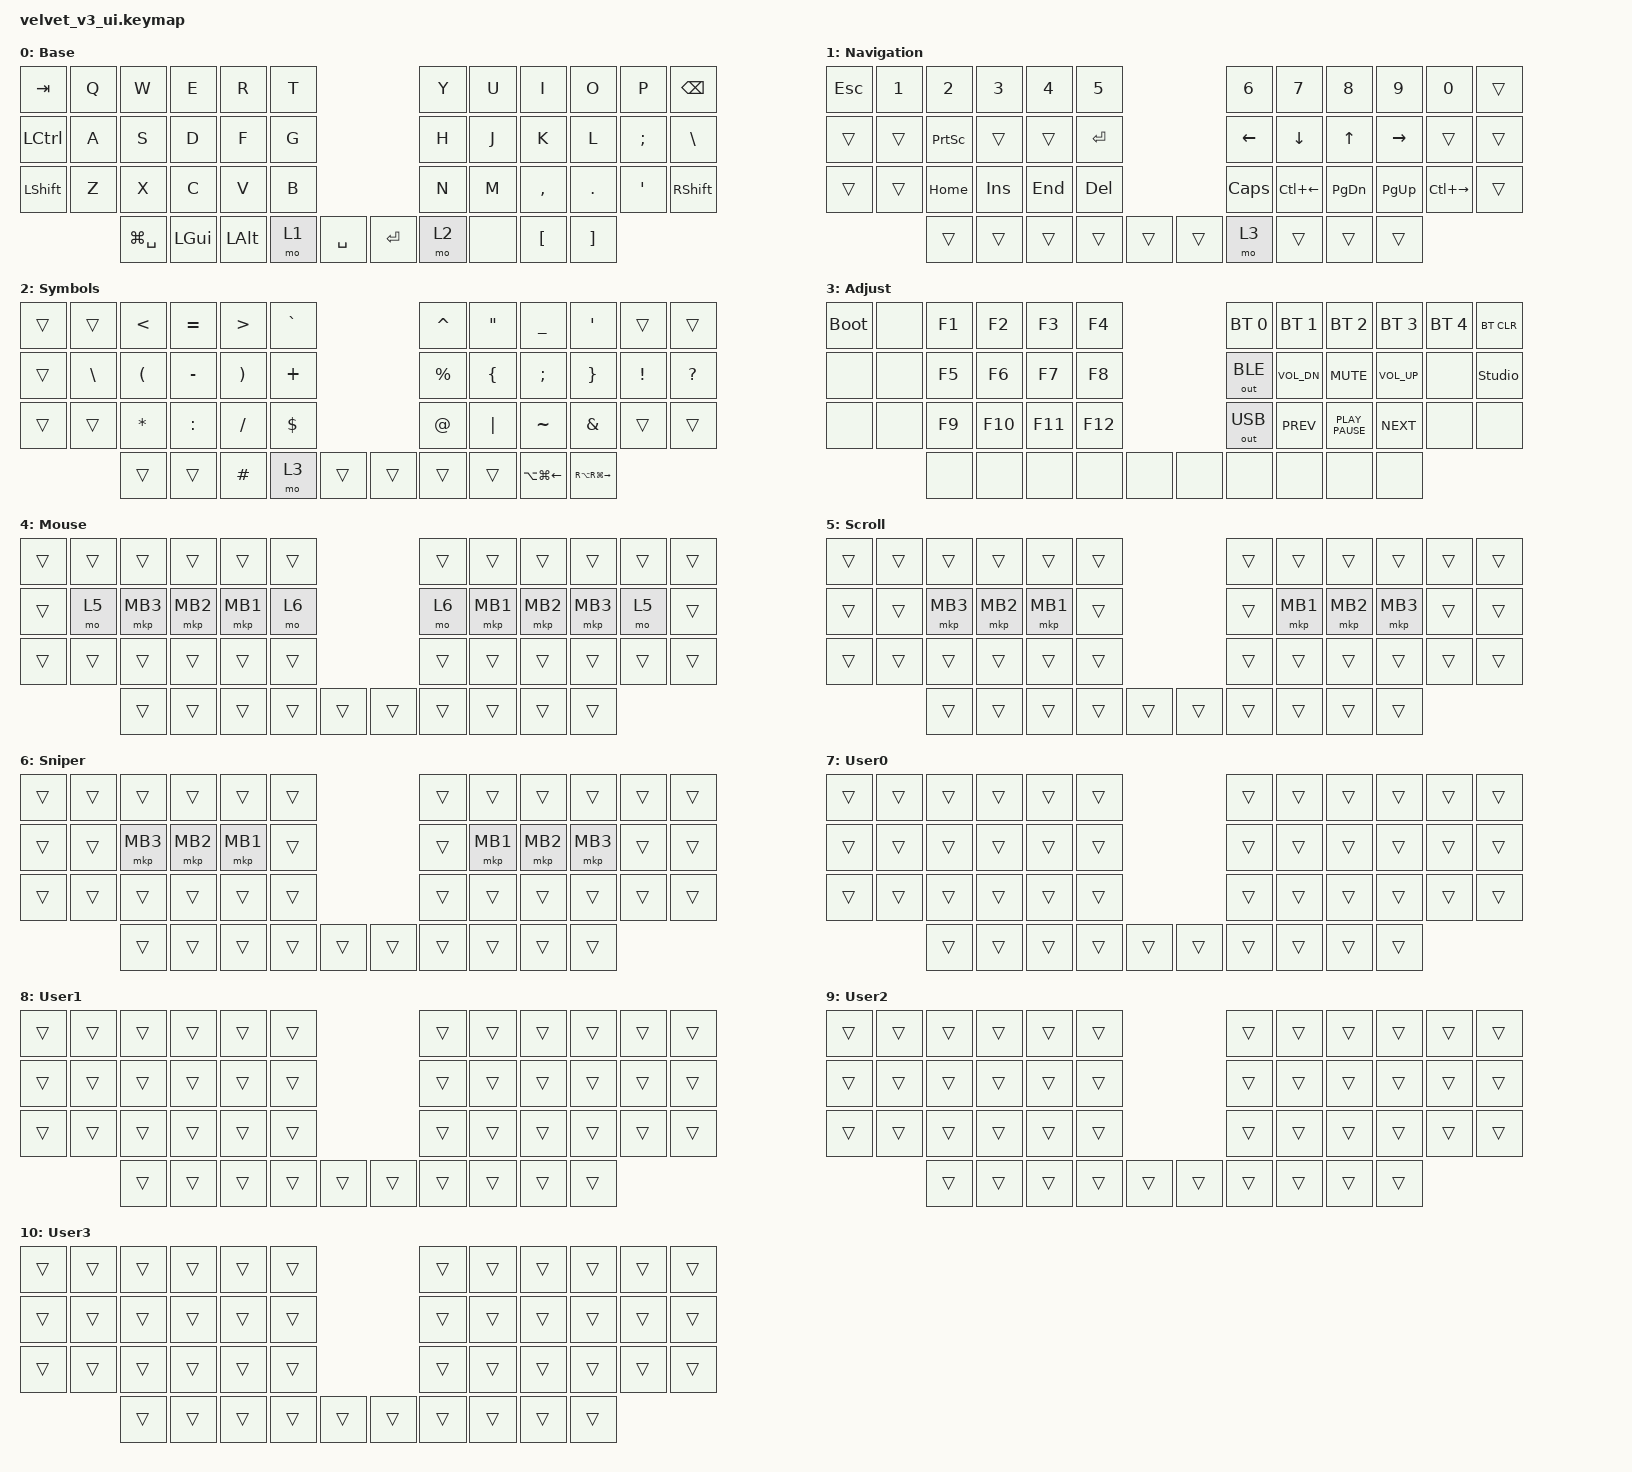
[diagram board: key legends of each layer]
#include "keys_ru.h"
#include <dt-bindings/zmk/input_transform.h>
#include <input/processors.dtsi>
#include <zephyr/dt-bindings/input/input-event-codes.h>
#include <behaviors.dtsi>
#include <dt-bindings/zmk/bt.h>
#include <dt-bindings/zmk/keys.h>
#include <dt-bindings/zmk/outputs.h>
#include <dt-bindings/zmk/pointing.h>

/ {
    behaviors {
        cap_sen: cap_sen {
            compatible = "zmk,behavior-hold-tap";
            label = "CAP_SEN";
            bindings = <&mo>, <&mkp>;

            #binding-cells = <2>;
            tapping-term-ms = <150>;
            hold-while-undecided;
        };

        mouse_layer: mouse_layer {
            compatible = "zmk,behavior-sticky-key";
            label = "MOUSE_LAYER";
            bindings = <&mo>;
            #binding-cells = <1>;
            release-after-ms = <200>;
        };

        zip_auto_mouse: zip_auto_mouse {
            compatible = "zmk,input-processor-temp-layer";
            #input-processor-cells = <2>;
            require-prior-idle-ms = <800>;
            excluded-positions = <>;
        };
    };

    keymap {
        compatible = "zmk,keymap";

        base {
            bindings = <
&kp TAB         &kp Q  &kp W          &kp E     &kp R         &kp T                        &kp Y  &kp U  &kp I      &kp O     &kp P     &kp BSPC
&kp LCTRL       &kp A  &kp S          &kp D     &kp F         &kp G                        &kp H  &kp J  &kp K      &kp L     &kp SEMI  &kp BSLH
&kp LEFT_SHIFT  &kp Z  &kp X          &kp C     &kp V         &kp B                        &kp N  &kp M  &kp COMMA  &kp DOT   &kp SQT   &kp RSHFT
                       &kp LG(SPACE)  &kp LGUI  &kp LEFT_ALT  &mo 1  &kp SPACE    &kp RET  &mo 2  &none  &kp LBKT   &kp RBKT
            >;

            display-name = "Base";
        };

        nav {
            bindings = <
&kp ESC  &kp N1  &kp N2           &kp N3   &kp N4   &kp N5                     &kp N6          &kp N7          &kp N8         &kp N9           &kp N0         &trans
&trans   &trans  &kp PRINTSCREEN  &trans   &trans   &kp RET                    &kp LEFT_ARROW  &kp DOWN_ARROW  &kp UP_ARROW   &kp RIGHT_ARROW  &trans         &trans
&trans   &trans  &kp HOME         &kp INS  &kp END  &kp DEL                    &kp CLCK        &kp LC(LEFT)    &kp PAGE_DOWN  &kp PAGE_UP      &kp LC(RIGHT)  &trans
                 &trans           &trans   &trans   &trans   &trans    &trans  &mo 3           &trans          &trans         &trans
            >;

            display-name = "Navigation";
        };

        sym {
            bindings = <
&trans  &trans    &kp LT    &kp EQUAL  &kp GT    &kp GRAVE                    &kp CARET  &kp DQT   &kp UNDER               &kp SQT                  &trans    &trans
&trans  &kp BSLH  &kp LPAR  &kp MINUS  &kp RPAR  &kp PLUS                     &kp PRCNT  &kp LBRC  &kp SEMI                &kp RBRC                 &kp EXCL  &kp QUESTION
&trans  &trans    &kp STAR  &kp COLON  &kp FSLH  &kp DLLR                     &kp AT     &kp PIPE  &kp TILDE               &kp AMPS                 &trans    &trans
                  &trans    &trans     &kp HASH  &mo 3      &trans    &trans  &trans     &trans    &kp LA(LG(LEFT_ARROW))  &kp RA(RG(RIGHT_ARROW))
            >;

            display-name = "Symbols";
        };

        adj {
            bindings = <
&bootloader  &none  &kp F1  &kp F2   &kp F3   &kp F4                   &bt BT_SEL 0  &bt BT_SEL 1  &bt BT_SEL 2      &bt BT_SEL 3  &bt BT_SEL 4  &bt BT_CLR
&none        &none  &kp F5  &kp F6   &kp F7   &kp F8                   &out OUT_BLE  &kp C_VOL_DN  &kp K_MUTE        &kp C_VOL_UP  &none         &studio_unlock
&none        &none  &kp F9  &kp F10  &kp F11  &kp F12                  &out OUT_USB  &kp K_PREV    &kp K_PLAY_PAUSE  &kp K_NEXT    &none         &none
                    &none   &none    &none    &none    &none    &none  &none         &none         &none             &none
            >;

            display-name = "Adjust";
        };

        mouse {
            bindings = <
&trans  &trans  &trans    &trans    &trans    &trans                    &trans  &trans    &trans    &trans    &trans  &trans
&trans  &mo 5   &mkp MB3  &mkp MB2  &mkp MB1  &mo 6                     &mo 6   &mkp MB1  &mkp MB2  &mkp MB3  &mo 5   &trans
&trans  &trans  &trans    &trans    &trans    &trans                    &trans  &trans    &trans    &trans    &trans  &trans
                &trans    &trans    &trans    &trans  &trans    &trans  &trans  &trans    &trans    &trans
            >;

            display-name = "Mouse";
        };

        scroll {
            bindings = <
&trans  &trans  &trans    &trans    &trans    &trans                    &trans  &trans    &trans    &trans    &trans  &trans
&trans  &trans  &mkp MB3  &mkp MB2  &mkp MB1  &trans                    &trans  &mkp MB1  &mkp MB2  &mkp MB3  &trans  &trans
&trans  &trans  &trans    &trans    &trans    &trans                    &trans  &trans    &trans    &trans    &trans  &trans
                &trans    &trans    &trans    &trans  &trans    &trans  &trans  &trans    &trans    &trans
            >;

            display-name = "Scroll";
        };

        sniper {
            bindings = <
&trans  &trans  &trans    &trans    &trans    &trans                    &trans  &trans    &trans    &trans    &trans  &trans
&trans  &trans  &mkp MB3  &mkp MB2  &mkp MB1  &trans                    &trans  &mkp MB1  &mkp MB2  &mkp MB3  &trans  &trans
&trans  &trans  &trans    &trans    &trans    &trans                    &trans  &trans    &trans    &trans    &trans  &trans
                &trans    &trans    &trans    &trans  &trans    &trans  &trans  &trans    &trans    &trans
            >;

            display-name = "Sniper";
        };

        User0 {
            bindings = <
&trans  &trans  &trans  &trans  &trans  &trans                    &trans  &trans  &trans  &trans  &trans  &trans
&trans  &trans  &trans  &trans  &trans  &trans                    &trans  &trans  &trans  &trans  &trans  &trans
&trans  &trans  &trans  &trans  &trans  &trans                    &trans  &trans  &trans  &trans  &trans  &trans
                &trans  &trans  &trans  &trans  &trans    &trans  &trans  &trans  &trans  &trans
            >;

            display-name = "User0";
        };

        User1 {
            bindings = <
&trans  &trans  &trans  &trans  &trans  &trans                    &trans  &trans  &trans  &trans  &trans  &trans
&trans  &trans  &trans  &trans  &trans  &trans                    &trans  &trans  &trans  &trans  &trans  &trans
&trans  &trans  &trans  &trans  &trans  &trans                    &trans  &trans  &trans  &trans  &trans  &trans
                &trans  &trans  &trans  &trans  &trans    &trans  &trans  &trans  &trans  &trans
            >;

            display-name = "User1";
        };

        User2 {
            bindings = <
&trans  &trans  &trans  &trans  &trans  &trans                    &trans  &trans  &trans  &trans  &trans  &trans
&trans  &trans  &trans  &trans  &trans  &trans                    &trans  &trans  &trans  &trans  &trans  &trans
&trans  &trans  &trans  &trans  &trans  &trans                    &trans  &trans  &trans  &trans  &trans  &trans
                &trans  &trans  &trans  &trans  &trans    &trans  &trans  &trans  &trans  &trans
            >;

            display-name = "User2";
        };

        User3 {
            bindings = <
&trans  &trans  &trans  &trans  &trans  &trans                    &trans  &trans  &trans  &trans  &trans  &trans
&trans  &trans  &trans  &trans  &trans  &trans                    &trans  &trans  &trans  &trans  &trans  &trans
&trans  &trans  &trans  &trans  &trans  &trans                    &trans  &trans  &trans  &trans  &trans  &trans
                &trans  &trans  &trans  &trans  &trans    &trans  &trans  &trans  &trans  &trans
            >;

            display-name = "User3";
        };
    };
};

&trackball { cpi = <1000>; };

&trackball_listener {
    input-processors = <&zip_auto_mouse 4 500>, <&zip_xy_scaler 9 20>;

    scroller {
        layers = <5>;
        input-processors =
            <&zip_xy_transform INPUT_TRANSFORM_Y_INVERT>,
            <&zip_xy_scaler 1 32>,
            <&zip_xy_to_scroll_mapper>;
    };

    sniper {
        layers = <6>;
        input-processors = <&zip_xy_scaler 1 4>;
    };
};
